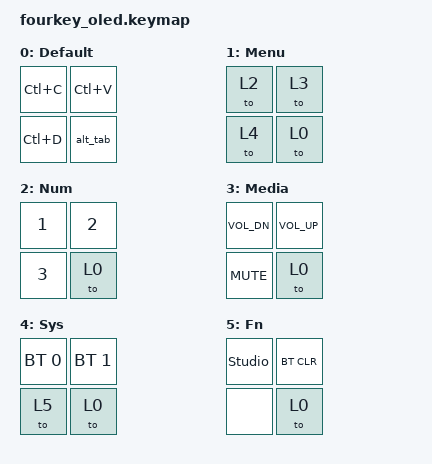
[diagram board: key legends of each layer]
/*
 * fourkey_oled keymap - B31「层即页面」(蓝牙精简为 2 档)
 *
 * 物理布局：2×2 直连按键（先第一排从左到右，再第二排）
 *   ┌──────────┬──────────┐
 *   │ K1 左上  │ K2 右上  │   位置索引 0..3 = K1..K4
 *   ├──────────┼──────────┤
 *   │ K3 左下  │ K4 右下  │
 *   └──────────┴──────────┘
 *
 * B31 变更 —— 蓝牙精简（用户只需要 2 个蓝牙档位）：
 *   - 删除 Fn 页 K3 的 &bt BT_SEL 2（第 3 档），改为 &none；
 *     现在只有 Sys 页 K1=BT_SEL 0、K2=BT_SEL 1 两个选档键。
 *   - 保留 Fn 页 K2 的 &bt BT_CLR（清配对）——排障必需，不算"蓝牙档位"。
 *   - 屏幕显示同步简化：BT_SEL0/1 显示 B0/B1，BT_CLR 显示 CLR；
 *     顶栏 BLE 连接时显示当前档位 B0/B1，选档后短暂显示 ->B0/->B1 作反馈。
 *
 * B29 变更 —— 蓝牙回退到 B24（用户确认 B24 蓝牙正常）：
 *   B26/B27 为"修蓝牙"加的三处改动是回归源，全部移除：
 *   1) combo_btclr (K1+K4 = BT_SEL 0 + BT_CLR)：日常 Ctrl+C→Alt+Tab
 *      切换窗口时，K1 后紧接 K4 会在 combo 窗口内误触发清配对，
 *      bond 被反复清掉 → 表现就是"连上就断/连不上"。
 *   2) combo_ble (K3+K4 = OUT_BLE)：Ctrl+D→Alt+Tab 误触发会把正在用的
 *      USB 输出强制切到 BLE → 键盘无响应。
 *   3) conf 里的 ZMK_BLE_EXPERIMENTAL_CONN / BT_SMP_ALLOW_UNAUTH_OVERWRITE
 *      两个实验开关，B24 均未开启也能正常配对连接，一并移除。
 *   Fn 页 K3 恢复为 &bt BT_SEL 2（B24 原样）。
 *   仅保留 combo_menu timeout=100ms（与蓝牙无关，改善进菜单手感）。
 *
 * 屏幕上的 2×2 键位标签由 custom_status_screen.c 运行时读取本文件
 * （以及 ZMK Studio 保存的在线改键）生成，改键后屏幕自动同步。
 *
 * 层序（Studio 里可重命名/重排，屏幕读的是真实层名）：
 *   0 Default / 1 Menu / 2 Num / 3 Media / 4 Sys / 5 Fn
 *   6,7 = reserved（Studio 备用层）
 */

#include <behaviors.dtsi>
#include <dt-bindings/zmk/keys.h>
#include <dt-bindings/zmk/bt.h>

/ {
    combos {
        compatible = "zmk,combos";

        /* 逻辑功能键：K1+K2 = 打开菜单页。
           layers = <0> 只在 Default 页生效；require-prior-idle-ms 防止
           连续快速按 K1、K2 时误触发（官方文档 combos.md）。 */
        combo_menu {
            timeout-ms = <100>;
            require-prior-idle-ms = <80>;
            key-positions = <0 1>;
            layers = <0>;
            bindings = <&to 1>;
        };
    };

    macros {
        /* Alt+Tab 切换器：
           按下 -> 按住 LALT + 敲一次 TAB；
           &macro_pause_for_release -> 剩余部分等按键释放才执行；
           释放 -> 释放 LALT。
           短按 = 一次完整 Alt+Tab；长按 = 任务切换器保持显示。 */
        alt_tab: alt_tab {
            compatible = "zmk,behavior-macro";
            #binding-cells = <0>;
            wait-ms = <10>;
            tap-ms = <30>;
            bindings = <
                &macro_press   &kp LALT
                &macro_tap     &kp TAB
                &macro_pause_for_release
                &macro_release &kp LALT
            >;
        };
    };

    keymap {
        compatible = "zmk,keymap";

        default_layer {
            display-name = "Default";
            bindings = <
                &kp LC(C)       &kp LC(V)
                &kp LC(D)       &alt_tab
            >;
        };

        menu_layer {
            display-name = "Menu";
            bindings = <
                &to 2           &to 3
                &to 4           &to 0
            >;
        };

        num_layer {
            display-name = "Num";
            bindings = <
                &kp N1          &kp N2
                &kp N3          &to 0
            >;
        };

        media_layer {
            display-name = "Media";
            bindings = <
                &kp C_VOL_DN    &kp C_VOL_UP
                &kp C_MUTE      &to 0
            >;
        };

        sys_layer {
            display-name = "Sys";
            bindings = <
                &bt BT_SEL 0    &bt BT_SEL 1
                &to 5           &to 0
            >;
        };

        fn_layer {
            display-name = "Fn";
            bindings = <
                &studio_unlock  &bt BT_CLR
                &none           &to 0
            >;
        };

        /* Studio 专用备用层：普通构建忽略（reserved），
           启用 ZMK Studio 后可在 UI 里启用并自由改键。 */
        extra1 {
            status = "reserved";
        };

        extra2 {
            status = "reserved";
        };
    };
};
